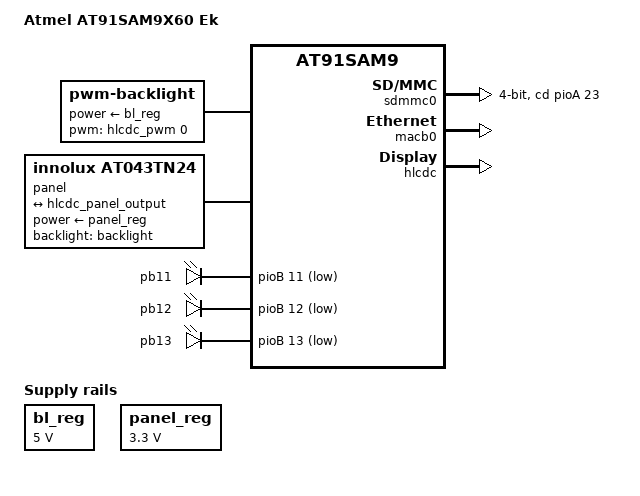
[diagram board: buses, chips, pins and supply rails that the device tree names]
/*
 * at91sam9x60ek.dts - Device Tree file for AT91SAM9X60 EK board
 *
 *  Copyright (C) 2018 Microchip Technology Inc
 * 	  2018 Sandeep Sheriker M<Sandeepsheriker.mallikarjun@microchip.com>
 *
 * Licensed under GPLv2 or later.
 */
/dts-v1/;
#include "at91sam9x60.dtsi"

/ {
	model = "Atmel AT91SAM9X60 Ek";
	compatible = "atmel,at91sam9x60ek", "atmel,at91sam9x60", "atmel,at91sam9";

	ahb {
		ebi: ebi@10000000 {
			pinctrl-names = "default";
			pinctrl-0 = <&pinctrl_ebi_addr_nand &pinctrl_ebi_data_0_7>;
			status = "disabled";

			nand_controller: nand-controller {
				pinctrl-names = "default";
				pinctrl-0 = <&pinctrl_nand_oe_we &pinctrl_nand_cs &pinctrl_nand_rb>;
				status = "disabled";

				nand@3 {
					reg = <0x3 0x0 0x800000>;
                    rb-gpios = <&pioD 5 GPIO_ACTIVE_HIGH>;
                    cs-gpios = <&pioD 4 GPIO_ACTIVE_HIGH>;
					nand-bus-width = <8>;
					nand-ecc-mode = "hw";
					nand-ecc-strength = <2>;
					nand-ecc-step-size = <512>;
					nand-on-flash-bbt;
					label = "atmel_nand";

					partitions {
						compatible = "fixed-partitions";
						#address-cells = <1>;
						#size-cells = <1>;

						at91bootstrap@0 {
							label = "at91bootstrap";
							reg = <0x0 0x40000>;
						};

						uboot@40000 {
							label = "u-boot";
							reg = <0x40000 0x80000>;
						};

						ubootenv@c0000 {
							label = "U-Boot Env";
							reg = <0xc0000 0x140000>;
						};

						kernel@200000 {
							label = "kernel";
							reg = <0x200000 0x600000>;
						};

						rootfs@800000 {
							label = "rootfs";
							reg = <0x800000 0x10000000>;
						};
					};
				};
			};
		};

        sdmmc0: sdio-host@80000000 {
            bus-width = <4>;
            pinctrl-names = "default";
            pinctrl-0 = <&pinctrl_sdmmc0_default>;
            status = "okay"; 
			cd-gpios = <&pioA 23 GPIO_ACTIVE_HIGH>;
			no-1-8-v;
        };

        sdmmc1: sdio-host@90000000 {
            bus-width = <4>;
            pinctrl-names = "default";
            pinctrl-0 = <&pinctrl_sdmmc1_default>;
            status = "disabled";
        };

		apb {
			/*qspi: qspi@f0014000 {
				pinctrl-names = "default";
				pinctrl-0 = <&pinctrl_qspi>;
            	status = "disabled";

				flash0: n25q256a@0 {
					#address-cells = <1>;
					#size-cells = <1>;
					compatible = "micron,n25q256a";
					spi-max-frequency = <15000000>;
					reg = <0>;
				};
			};*/

			can0: can@f8000000 {
				pinctrl-names = "default";
				pinctrl-0 = <&pinctrl_can0_rx_tx>;
			};

			can1: can@f8004000 {
				pinctrl-names = "default";
				pinctrl-0 = <&pinctrl_can1_rx_tx>;
			};

			macb0: ethernet@f802c000 {
				pinctrl-names = "default";
				pinctrl-0 = <&pinctrl_macb0_rmii>;
			 	status = "okay";
			};

            hlcdc: hlcdc@f8038000 {
				status = "okay";

                hlcdc-display-controller {
					pinctrl-names = "default";
					pinctrl-0 = <&pinctrl_lcd_base &pinctrl_lcd_rgb888>;

					port@0 {
						hlcdc_panel_output: endpoint@0 {
							reg = <0>;
							remote-endpoint = <&panel_input>;
						};
					};
                };

                hlcdc_pwm: hlcdc-pwm {
					pinctrl-names = "default";
					pinctrl-0 = <&pinctrl_lcd_pwm>;
                };
			};

/*0xe000001f 0xc000381F 0x20000000   pioA 
0x03FC0000 0x03FC1800 0x00000000   pioB 
0xfdffffff 0x00000000 0x00000000   pioC 
0x003fffff 0x00000000 0x00000000   pioD */

			pinctrl@fffff400 {
				atmel,mux-mask = <
					/*    A         B		  C		*/
					0xFFFFFE7F 0xc0E0381F 0xEF00019D  /* pioA */
					0x03FFFFFF 0x02FC3E68 0x00780000  /* pioB */
					0xfdffffff 0xF83FFFFF 0xB800F3FC  /* pioC */
					0x003FFFFF 0x003F8000 0x00000000  /* pioD */
					>;

                sdmmc0 {
                    pinctrl_sdmmc0_default: sdmmc0 {
                        atmel,pins =
                            <AT91_PIOA 17 AT91_PERIPH_A AT91_PINCTRL_NONE		/* PA17 CK  periph A with pullup */
                             AT91_PIOA 16 AT91_PERIPH_A AT91_PINCTRL_PULL_UP    /* PA16 CMD periph A with pullup */
                             AT91_PIOA 15 AT91_PERIPH_A AT91_PINCTRL_PULL_UP   	/* PA15 DAT0 periph A */
                             AT91_PIOA 18 AT91_PERIPH_A AT91_PINCTRL_PULL_UP	/* PA18 DAT1 periph A with pullup */
                             AT91_PIOA 19 AT91_PERIPH_A AT91_PINCTRL_PULL_UP	/* PA19 DAT2 periph A with pullup */
                             AT91_PIOA 20 AT91_PERIPH_A AT91_PINCTRL_PULL_UP>;  /* PA20 DAT3 periph A with pullup */
                    };
				};

                sdmmc1 {
                    pinctrl_sdmmc1_default: sdmmc1 {
                        atmel,pins =
                            <AT91_PIOA 13 AT91_PERIPH_B AT91_PINCTRL_NONE   	/* PA13 CK periph B */
                             AT91_PIOA 12 AT91_PERIPH_B AT91_PINCTRL_PULL_UP    /* PA12 CMD periph B with pullup */
                             AT91_PIOA 11 AT91_PERIPH_B AT91_PINCTRL_PULL_UP  	/* PA11 DAT0 periph B with pullup */
                             AT91_PIOA 2 AT91_PERIPH_B AT91_PINCTRL_PULL_UP 	/* PA2 DAT1 periph B with pullup */
                             AT91_PIOA 3 AT91_PERIPH_B AT91_PINCTRL_PULL_UP 	/* PA3 DAT2 periph B with pullup */
                             AT91_PIOA 4 AT91_PERIPH_B AT91_PINCTRL_PULL_UP>;   /* PA4 DAT3 periph B with pullup */
                    };
                };

				qspi {
					pinctrl_qspi: qspi {
						atmel,pins =
							<AT91_PIOB 19 AT91_PERIPH_A AT91_PINCTRL_NONE
							AT91_PIOB 20 AT91_PERIPH_A AT91_PINCTRL_NONE
							AT91_PIOB 21 AT91_PERIPH_A AT91_PINCTRL_PULL_UP
							AT91_PIOB 22 AT91_PERIPH_A AT91_PINCTRL_PULL_UP
							AT91_PIOB 23 AT91_PERIPH_A AT91_PINCTRL_PULL_UP
							AT91_PIOB 24 AT91_PERIPH_A AT91_PINCTRL_PULL_UP>;
					};
				};

				lcd {
					pinctrl_lcd_base: lcd-base-0 {
						atmel,pins =
							<AT91_PIOC 27 AT91_PERIPH_A AT91_PINCTRL_NONE	/* LCDVSYNC */
							AT91_PIOC 28 AT91_PERIPH_A AT91_PINCTRL_NONE	/* LCDHSYNC */
							 AT91_PIOC 24 AT91_PERIPH_A AT91_PINCTRL_NONE	/* LCDDISP */
							 AT91_PIOC 29 AT91_PERIPH_A AT91_PINCTRL_NONE	/* LCDDEN */
							 AT91_PIOC 30 AT91_PERIPH_A AT91_PINCTRL_NONE>;	/* LCDPCK */
					};

					pinctrl_lcd_pwm: lcd-pwm-0 {
						atmel,pins = <AT91_PIOC 26 AT91_PERIPH_A AT91_PINCTRL_NONE>;	/* LCDPWM */
					};

					pinctrl_lcd_rgb444: lcd-rgb-0 {
						atmel,pins =
							<AT91_PIOC 0 AT91_PERIPH_A AT91_PINCTRL_NONE	/* LCDD0 pin */
							 AT91_PIOC 1 AT91_PERIPH_A AT91_PINCTRL_NONE	/* LCDD1 pin */
							 AT91_PIOC 2 AT91_PERIPH_A AT91_PINCTRL_NONE	/* LCDD2 pin */
							 AT91_PIOC 3 AT91_PERIPH_A AT91_PINCTRL_NONE	/* LCDD3 pin */
							 AT91_PIOC 4 AT91_PERIPH_A AT91_PINCTRL_NONE	/* LCDD4 pin */
							 AT91_PIOC 5 AT91_PERIPH_A AT91_PINCTRL_NONE	/* LCDD5 pin */
							 AT91_PIOC 6 AT91_PERIPH_A AT91_PINCTRL_NONE	/* LCDD6 pin */
							 AT91_PIOC 7 AT91_PERIPH_A AT91_PINCTRL_NONE	/* LCDD7 pin */
							 AT91_PIOC 8 AT91_PERIPH_A AT91_PINCTRL_NONE	/* LCDD8 pin */
							 AT91_PIOC 9 AT91_PERIPH_A AT91_PINCTRL_NONE	/* LCDD9 pin */
							 AT91_PIOC 10 AT91_PERIPH_A AT91_PINCTRL_NONE	/* LCDD10 pin */
							 AT91_PIOC 11 AT91_PERIPH_A AT91_PINCTRL_NONE>;	/* LCDD11 pin */
					};

					pinctrl_lcd_rgb565: lcd-rgb-1 {
						atmel,pins =
							<AT91_PIOC 0 AT91_PERIPH_A AT91_PINCTRL_NONE	/* LCDD0 pin */
							 AT91_PIOC 1 AT91_PERIPH_A AT91_PINCTRL_NONE	/* LCDD1 pin */
							 AT91_PIOC 2 AT91_PERIPH_A AT91_PINCTRL_NONE	/* LCDD2 pin */
							 AT91_PIOC 3 AT91_PERIPH_A AT91_PINCTRL_NONE	/* LCDD3 pin */
							 AT91_PIOC 4 AT91_PERIPH_A AT91_PINCTRL_NONE	/* LCDD4 pin */
							 AT91_PIOC 5 AT91_PERIPH_A AT91_PINCTRL_NONE	/* LCDD5 pin */
							 AT91_PIOC 6 AT91_PERIPH_A AT91_PINCTRL_NONE	/* LCDD6 pin */
							 AT91_PIOC 7 AT91_PERIPH_A AT91_PINCTRL_NONE	/* LCDD7 pin */
							 AT91_PIOC 8 AT91_PERIPH_A AT91_PINCTRL_NONE	/* LCDD8 pin */
							 AT91_PIOC 9 AT91_PERIPH_A AT91_PINCTRL_NONE	/* LCDD9 pin */
							 AT91_PIOC 10 AT91_PERIPH_A AT91_PINCTRL_NONE	/* LCDD10 pin */
							 AT91_PIOC 11 AT91_PERIPH_A AT91_PINCTRL_NONE	/* LCDD11 pin */
							 AT91_PIOC 12 AT91_PERIPH_A AT91_PINCTRL_NONE	/* LCDD12 pin */
							 AT91_PIOC 13 AT91_PERIPH_A AT91_PINCTRL_NONE	/* LCDD13 pin */
							 AT91_PIOC 14 AT91_PERIPH_A AT91_PINCTRL_NONE	/* LCDD14 pin */
							 AT91_PIOC 15 AT91_PERIPH_A AT91_PINCTRL_NONE>;	/* LCDD15 pin */
					};

					pinctrl_lcd_rgb666: lcd-rgb-2 {
						atmel,pins =
							<AT91_PIOC 0 AT91_PERIPH_A AT91_PINCTRL_NONE	/* LCDD0 pin */
							 AT91_PIOC 1 AT91_PERIPH_A AT91_PINCTRL_NONE	/* LCDD1 pin */
							 AT91_PIOC 2 AT91_PERIPH_A AT91_PINCTRL_NONE	/* LCDD2 pin */
							 AT91_PIOC 3 AT91_PERIPH_A AT91_PINCTRL_NONE	/* LCDD3 pin */
							 AT91_PIOC 4 AT91_PERIPH_A AT91_PINCTRL_NONE	/* LCDD4 pin */
							 AT91_PIOC 5 AT91_PERIPH_A AT91_PINCTRL_NONE	/* LCDD5 pin */
							 AT91_PIOC 6 AT91_PERIPH_A AT91_PINCTRL_NONE	/* LCDD6 pin */
							 AT91_PIOC 7 AT91_PERIPH_A AT91_PINCTRL_NONE	/* LCDD7 pin */
							 AT91_PIOC 8 AT91_PERIPH_A AT91_PINCTRL_NONE	/* LCDD8 pin */
							 AT91_PIOC 9 AT91_PERIPH_A AT91_PINCTRL_NONE	/* LCDD9 pin */
							 AT91_PIOC 10 AT91_PERIPH_A AT91_PINCTRL_NONE	/* LCDD10 pin */
							 AT91_PIOC 11 AT91_PERIPH_A AT91_PINCTRL_NONE	/* LCDD11 pin */
							 AT91_PIOC 12 AT91_PERIPH_A AT91_PINCTRL_NONE	/* LCDD12 pin */
							 AT91_PIOC 13 AT91_PERIPH_A AT91_PINCTRL_NONE	/* LCDD13 pin */
							 AT91_PIOC 14 AT91_PERIPH_A AT91_PINCTRL_NONE	/* LCDD14 pin */
							 AT91_PIOC 15 AT91_PERIPH_A AT91_PINCTRL_NONE	/* LCDD15 pin */
							 AT91_PIOC 16 AT91_PERIPH_A AT91_PINCTRL_NONE	/* LCDD16 pin */
							 AT91_PIOC 17 AT91_PERIPH_A AT91_PINCTRL_NONE>;	/* LCDD17 pin */
					};

					pinctrl_lcd_rgb888: lcd-rgb-3 {
						atmel,pins =
							<AT91_PIOC 0 AT91_PERIPH_A AT91_PINCTRL_NONE	/* LCDD0 pin */
							 AT91_PIOC 1 AT91_PERIPH_A AT91_PINCTRL_NONE	/* LCDD1 pin */
							 AT91_PIOC 2 AT91_PERIPH_A AT91_PINCTRL_NONE	/* LCDD2 pin */
							 AT91_PIOC 3 AT91_PERIPH_A AT91_PINCTRL_NONE	/* LCDD3 pin */
							 AT91_PIOC 4 AT91_PERIPH_A AT91_PINCTRL_NONE	/* LCDD4 pin */
							 AT91_PIOC 5 AT91_PERIPH_A AT91_PINCTRL_NONE	/* LCDD5 pin */
							 AT91_PIOC 6 AT91_PERIPH_A AT91_PINCTRL_NONE	/* LCDD6 pin */
							 AT91_PIOC 7 AT91_PERIPH_A AT91_PINCTRL_NONE	/* LCDD7 pin */
							 AT91_PIOC 8 AT91_PERIPH_A AT91_PINCTRL_NONE	/* LCDD8 pin */
							 AT91_PIOC 9 AT91_PERIPH_A AT91_PINCTRL_NONE	/* LCDD9 pin */
							 AT91_PIOC 10 AT91_PERIPH_A AT91_PINCTRL_NONE	/* LCDD10 pin */
							 AT91_PIOC 11 AT91_PERIPH_A AT91_PINCTRL_NONE	/* LCDD11 pin */
							 AT91_PIOC 12 AT91_PERIPH_A AT91_PINCTRL_NONE	/* LCDD12 pin */
							 AT91_PIOC 13 AT91_PERIPH_A AT91_PINCTRL_NONE	/* LCDD13 pin */
							 AT91_PIOC 14 AT91_PERIPH_A AT91_PINCTRL_NONE	/* LCDD14 pin */
							 AT91_PIOC 15 AT91_PERIPH_A AT91_PINCTRL_NONE	/* LCDD15 pin */
							 AT91_PIOC 16 AT91_PERIPH_A AT91_PINCTRL_NONE	/* LCDD16 pin */
							 AT91_PIOC 17 AT91_PERIPH_A AT91_PINCTRL_NONE	/* LCDD17 pin */
							 AT91_PIOC 18 AT91_PERIPH_A AT91_PINCTRL_NONE	/* LCDD18 pin */
							 AT91_PIOC 19 AT91_PERIPH_A AT91_PINCTRL_NONE	/* LCDD19 pin */
							 AT91_PIOC 20 AT91_PERIPH_A AT91_PINCTRL_NONE	/* LCDD20 pin */
							 AT91_PIOC 21 AT91_PERIPH_A AT91_PINCTRL_NONE	/* LCDD21 pin */
							 AT91_PIOC 22 AT91_PERIPH_A AT91_PINCTRL_NONE	/* LCDD22 pin */
							 AT91_PIOC 23 AT91_PERIPH_A AT91_PINCTRL_NONE>;	/* LCDD23 pin */
					};
				};

				nand {
					pinctrl_nand_oe_we: nand-oe-we-0 {
						atmel,pins =
							<AT91_PIOD 0 AT91_PERIPH_A AT91_PINCTRL_NONE
							 AT91_PIOD 1 AT91_PERIPH_A AT91_PINCTRL_NONE>;
					};

					pinctrl_nand_rb: nand-rb-0 {
						atmel,pins =
							<AT91_PIOD 5 AT91_PERIPH_GPIO AT91_PINCTRL_PULL_UP>;
					};

					pinctrl_nand_cs: nand-cs-0 {
						atmel,pins =
							<AT91_PIOD 4 AT91_PERIPH_GPIO AT91_PINCTRL_PULL_UP>;
					};
				};

				ebi {
					pinctrl_ebi_data_0_7: ebi-data-lsb-0 {
						atmel,pins =
							<AT91_PIOD 6 AT91_PERIPH_A AT91_PINCTRL_NONE
							 AT91_PIOD 7 AT91_PERIPH_A AT91_PINCTRL_NONE
							 AT91_PIOD 8 AT91_PERIPH_A AT91_PINCTRL_NONE
							 AT91_PIOD 9 AT91_PERIPH_A AT91_PINCTRL_NONE
							 AT91_PIOD 10 AT91_PERIPH_A AT91_PINCTRL_NONE
							 AT91_PIOD 11 AT91_PERIPH_A AT91_PINCTRL_NONE
							 AT91_PIOD 12 AT91_PERIPH_A AT91_PINCTRL_NONE
							 AT91_PIOD 13 AT91_PERIPH_A AT91_PINCTRL_NONE>;
					};

					pinctrl_ebi_data_0_15: ebi-data-msb-0 {
						atmel,pins =
							<AT91_PIOD 6 AT91_PERIPH_A AT91_PINCTRL_NONE
							 AT91_PIOD 7 AT91_PERIPH_A AT91_PINCTRL_NONE
							 AT91_PIOD 8 AT91_PERIPH_A AT91_PINCTRL_NONE
							 AT91_PIOD 9 AT91_PERIPH_A AT91_PINCTRL_NONE
							 AT91_PIOD 10 AT91_PERIPH_A AT91_PINCTRL_NONE
							 AT91_PIOD 11 AT91_PERIPH_A AT91_PINCTRL_NONE
							 AT91_PIOD 12 AT91_PERIPH_A AT91_PINCTRL_NONE
							 AT91_PIOD 13 AT91_PERIPH_A AT91_PINCTRL_NONE
							 AT91_PIOD 14 AT91_PERIPH_A AT91_PINCTRL_NONE
							 AT91_PIOD 15 AT91_PERIPH_A AT91_PINCTRL_NONE
							 AT91_PIOD 16 AT91_PERIPH_A AT91_PINCTRL_NONE
							 AT91_PIOD 17 AT91_PERIPH_A AT91_PINCTRL_NONE
							 AT91_PIOD 18 AT91_PERIPH_A AT91_PINCTRL_NONE
							 AT91_PIOD 19 AT91_PERIPH_A AT91_PINCTRL_NONE
							 AT91_PIOD 20 AT91_PERIPH_A AT91_PINCTRL_NONE
							 AT91_PIOD 21 AT91_PERIPH_A AT91_PINCTRL_NONE>;
					};

					pinctrl_ebi_addr_nand: ebi-addr-0 {
						atmel,pins =
							<AT91_PIOD 2 AT91_PERIPH_A AT91_PINCTRL_NONE
							 AT91_PIOD 3 AT91_PERIPH_A AT91_PINCTRL_NONE>;
					};
				};

				can0 {
					pinctrl_can0_rx_tx: can0_rx_tx {
						atmel,pins =
							<AT91_PIOA 9 AT91_PERIPH_B AT91_PINCTRL_NONE	/* CANRX0, conflicts with DRXD */
							AT91_PIOA 10 AT91_PERIPH_B AT91_PINCTRL_NONE>;	/* CANTX0, conflicts with DTXD */
					};
				};

				can1 {
					pinctrl_can1_rx_tx: can1_rx_tx {
						atmel,pins =
							<AT91_PIOA 6 AT91_PERIPH_B AT91_PINCTRL_NONE	/* CANRX1, conflicts with RXD1 */
							AT91_PIOA 5 AT91_PERIPH_B AT91_PINCTRL_NONE>;	/* CANTX1, conflicts with TXD1 */
					};
				};

				macb0 {
					pinctrl_macb0_rmii: macb0_rmii-0 {
						atmel,pins =
							<AT91_PIOB 0 AT91_PERIPH_A AT91_PINCTRL_NONE	/* PB0 periph A */
							 AT91_PIOB 1 AT91_PERIPH_A AT91_PINCTRL_NONE	/* PB1 periph A */
							 AT91_PIOB 2 AT91_PERIPH_A AT91_PINCTRL_NONE	/* PB2 periph A */
							 AT91_PIOB 3 AT91_PERIPH_A AT91_PINCTRL_NONE	/* PB3 periph A */
							 AT91_PIOB 4 AT91_PERIPH_A AT91_PINCTRL_NONE	/* PB4 periph A */
							 AT91_PIOB 5 AT91_PERIPH_A AT91_PINCTRL_NONE	/* PB5 periph A */
							 AT91_PIOB 6 AT91_PERIPH_A AT91_PINCTRL_NONE	/* PB6 periph A */
							 AT91_PIOB 7 AT91_PERIPH_A AT91_PINCTRL_NONE	/* PB7 periph A */
							 AT91_PIOB 9 AT91_PERIPH_A AT91_PINCTRL_NONE	/* PB9 periph A */
							 AT91_PIOB 10 AT91_PERIPH_A AT91_PINCTRL_NONE>;	/* PB10 periph A */
					};
				};

			}; /* pinctrl */
		}; /* apb */
	}; /*ahb */

    backlight: backlight {
        compatible = "pwm-backlight";
        pwms = <&hlcdc_pwm 0 50000 0>;
        brightness-levels = <0 4 8 16 32 64 128 255>;
        default-brightness-level = <6>;
        power-supply = <&bl_reg>;
        status = "okay";
    };

    bl_reg: backlight_regulator {
        compatible = "regulator-fixed";
        regulator-name = "backlight-power-supply";
        regulator-min-microvolt = <5000000>;
        regulator-max-microvolt = <5000000>;
        status = "okay";
    };

    panel: panel {
        compatible = "innolux,at043tn24", "simple-panel";
        backlight = <&backlight>;
        power-supply = <&panel_reg>;
        #address-cells = <1>;
        #size-cells = <0>;
        status = "okay";

        port@0 {
            reg = <0>;
            #address-cells = <1>;
            #size-cells = <0>;

            panel_input: endpoint@0 {
                reg = <0>;
                remote-endpoint = <&hlcdc_panel_output>;
            };
        };
    };

    panel_reg: panel_regulator {
        compatible = "regulator-fixed";
        regulator-name = "panel-power-supply";
        regulator-min-microvolt = <3300000>;
        regulator-max-microvolt = <3300000>;
        status = "okay";
    };

    leds {
        compatible = "gpio-leds";

        pb11 {
            label = "pb11";
            gpios = <&pioB 11 GPIO_ACTIVE_LOW>;
        };

        pb12 {
            label = "pb12";
            gpios = <&pioB 12 GPIO_ACTIVE_LOW>;
            linux,default-trigger = "heartbeat";
        };

        pb13 {
            label = "pb13";
            gpios = <&pioB 13 GPIO_ACTIVE_LOW>;
        };

    };

};
